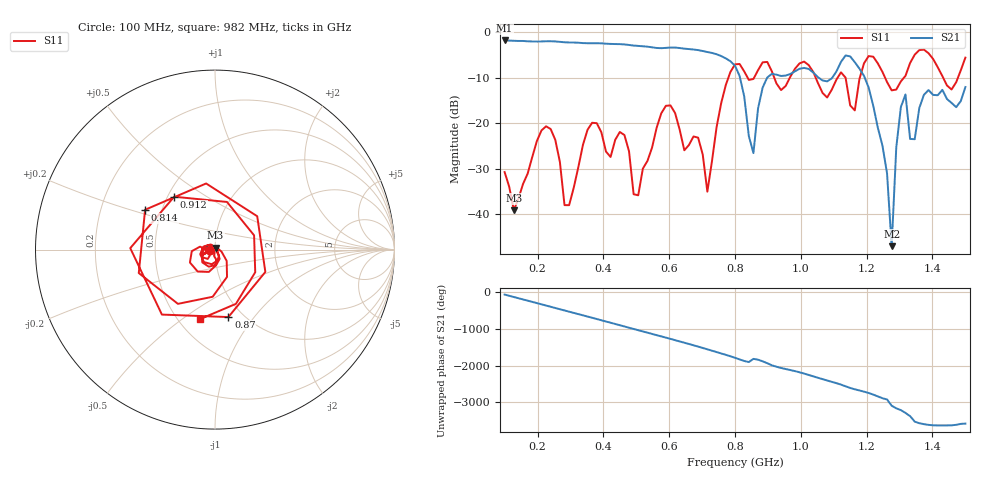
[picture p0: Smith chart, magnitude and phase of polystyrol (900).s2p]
! NanoVNA-App
! Date: 2025-09-25 15:36:53
! Start: 100MHz Stop: 1,5GHz Points: 101
! S-Parameter data: F S11 S21 S12 S22
# Hz S RI R 50
!  Frequency  S11_Real  S11_Imag  S21_Real  S21_Imag  S12_Real  S12_Imag  S22_Real  S22_Imag
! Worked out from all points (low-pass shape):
!   101 points, 100 MHz to 1.5 GHz, reference 50 ohm
!   highest |S21| = -1.80 dB at 100 MHz (marker M1); lowest = -47.0 dB at 1.276 GHz (marker M2)
!   |S21| within 3 dB of the highest: start of sweep to 742.8 MHz
!   lowest |S11| = -39.1 dB at 128 MHz (marker M3), VSWR 1.02, Z = 50.3 + j1.06 ohm
!   |S11| at or under -10 dB: start of sweep to 779.8 MHz; 1.045 GHz to 1.112 GHz (66.29 MHz wide, 6.15 % of centre); 1.256 GHz to 1.313 GHz (56.91 MHz wide, 4.43 % of centre) (the widest 3 of 7)
!   S12 and S22 are empty: the file has one direction only
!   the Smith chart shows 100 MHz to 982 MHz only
!   S11 on the Smith chart (normalised r, x): 100 MHz: 0.94, -0.01; 814 MHz: 0.40, +0.22; 870 MHz: 0.86, -0.75; 912 MHz: 0.54, +0.37; 982 MHz: 0.64, -0.58
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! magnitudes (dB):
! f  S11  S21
! 100 MHz  -30.7  -1.8
! 128 MHz  -39.1  -1.9
! 212 MHz  -21.6  -2.0
! 282 MHz  -38.0  -2.2
! 338 MHz  -24.7  -2.4
! 464 MHz  -22.6  -2.7
! 506 MHz  -35.8  -3.0
! 576 MHz  -17.8  -3.5
! 716 MHz  -35.0  -4.3
! 800 MHz  -7.0  -7.4
! 814 MHz  -7.0  -9.6
! 856 MHz  -10.3  -26.5
! 870 MHz  -8.3  -16.8
! 912 MHz  -8.6  -9.1
! 982 MHz  -8.0  -8.6
! 1.038 GHz  -8.7  -8.9
! 1.192 GHz  -6.8  -9.6
! 1.276 GHz  -12.8  -47.0
! 1.29 GHz  -12.6  -25.3
! 1.318 GHz  -9.6  -13.7
! 1.346 GHz  -4.9  -23.5
! 1.5 GHz  -5.6  -12.0
